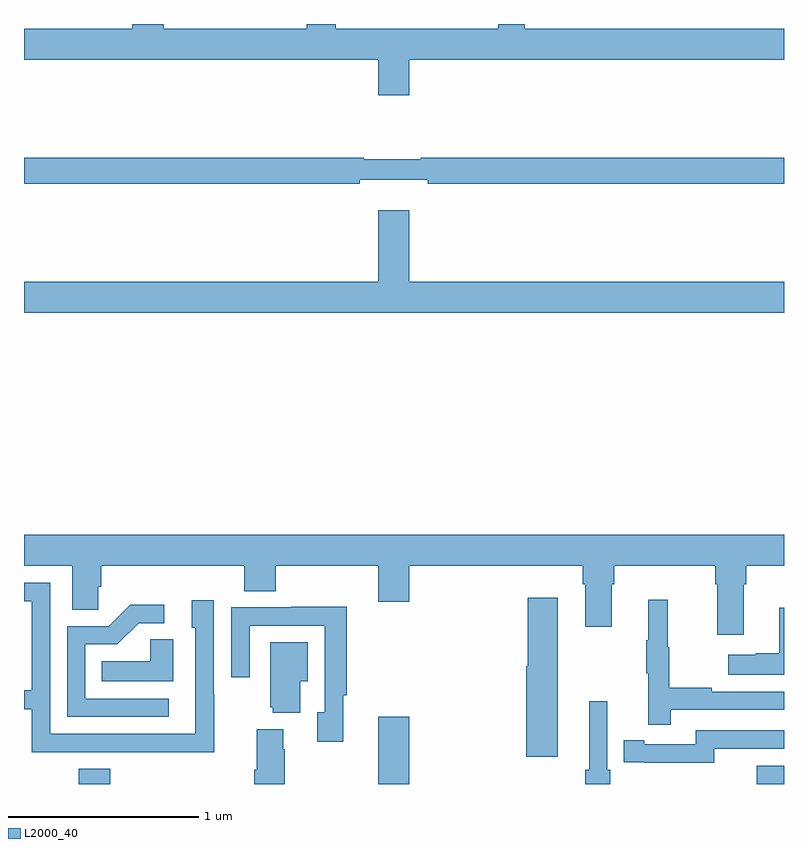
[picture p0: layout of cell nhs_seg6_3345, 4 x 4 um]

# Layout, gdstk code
import gdstk
lib = gdstk.Library(unit=1e-6, precision=1e-09)
def R(c, l, rs):  # rectangles x0, y0, x1, y1
    for r in rs: c.add(gdstk.rectangle(r[:2], r[2:], *l))
def P(c, l, *ps):  # polygons
    for p in ps: c.add(gdstk.Polygon(p, *l))
L2000_40 = (2000, 40)

nhs_seg6_3345 = lib.new_cell('nhs_seg6_3345')
R(nhs_seg6_3345, L2000_40, [(307.289,967.5,307.454,967.579), (308.864,967.5,309.028,967.855), (310.856,967.5,311,967.597)])
P(nhs_seg6_3345, L2000_40, [(309.028,971.312),(311,971.312),(311,971.476),(309.636,971.476),(309.636,971.5),(309.497,971.5),(309.497,971.476),(308.641,971.476),(308.641,971.5),(308.489,971.5),(308.489,971.476),(307.736,971.476),(307.736,971.5),(307.571,971.5),(307.571,971.476),(307,971.476),(307,971.312),(308.864,971.312),(308.864,971.124),(309.028,971.124)],
  [(308.768,970.679),(309.124,970.679),(309.124,970.66),(311,970.66),(311,970.796),(309.088,970.796),(309.088,970.789),(308.788,970.789),(308.788,970.796),(307,970.796),(307,970.66),(308.768,970.66)],
  [(311,970.144),(309.028,970.144),(309.028,970.519),(308.864,970.519),(308.864,970.144),(307,970.144),(307,969.98),(311,969.98)],
  [(310.789,968.552),(310.802,968.552),(310.802,968.648),(311,968.648),(311,968.812),(307,968.812),(307,968.648),(307.253,968.648),(307.253,968.416),(307.392,968.416),(307.392,968.539),(307.406,968.539),(307.406,968.648),(308.159,968.648),(308.159,968.515),(308.324,968.515),(308.324,968.648),(308.864,968.648),(308.864,968.46),(309.028,968.46),(309.028,968.648),(309.941,968.648),(309.941,968.552),(309.953,968.552),(309.953,968.328),(310.093,968.328),(310.093,968.552),(310.106,968.552),(310.106,968.648),(310.637,968.648),(310.637,968.552),(310.649,968.552),(310.649,968.286),(310.789,968.286)],
  [(308.001,967.973),(307.998,967.973),(307.998,968.467),(307.883,968.467),(307.883,968.322),(307.902,968.322),(307.902,967.764),(307.137,967.764),(307.137,968.559),(307,968.559),(307,968.463),(307.041,968.463),(307.041,967.994),(307,967.994),(307,967.893),(307.041,967.893),(307.041,967.668),(307.537,967.668),(307.537,967.667),(308.001,967.667)],
  [(309.808,968.479),(309.65,968.479),(309.65,968.121),(309.644,968.121),(309.644,967.644),(309.808,967.644)],
  [(310.403,967.89),(311,967.89),(311,967.986),(310.619,967.986),(310.619,968.006),(310.396,968.006),(310.396,968.22),(310.388,968.22),(310.388,968.47),(310.286,968.47),(310.286,968.257),(310.275,968.257),(310.275,968.083),(310.286,968.083),(310.286,967.812),(310.403,967.812)],
  [(307.762,967.95),(307.323,967.95),(307.323,968.235),(307.492,968.235),(307.603,968.346),(307.738,968.346),(307.738,968.444),(307.559,968.444),(307.446,968.331),(307.227,968.331),(307.227,967.854),(307.762,967.854)],
  [(308.681,967.966),(308.699,967.966),(308.699,968.432),(308.407,968.432),(308.407,968.43),(308.091,968.43),(308.091,968.061),(308.187,968.061),(308.187,968.334),(308.583,968.334),(308.583,967.878),(308.543,967.878),(308.543,967.722),(308.681,967.722)],
  [(311,968.428),(310.976,968.428),(310.976,968.189),(310.85,968.189),(310.85,968.179),(310.707,968.179),(310.707,968.075),(311,968.075)],
  [(307.786,968.261),(307.665,968.261),(307.665,968.146),(307.408,968.146),(307.408,968.042),(307.786,968.042)],
  [(308.455,968.042),(308.494,968.042),(308.494,968.245),(308.297,968.245),(308.297,967.905),(308.309,967.905),(308.309,967.874),(308.455,967.874)],
  [(310.085,967.576),(310.071,967.576),(310.071,967.936),(309.974,967.936),(309.974,967.576),(309.955,967.576),(309.955,967.5),(310.085,967.5)],
  [(308.373,967.682),(308.365,967.682),(308.365,967.789),(308.225,967.789),(308.225,967.576),(308.213,967.576),(308.213,967.5),(308.373,967.5)],
  [(310.632,967.686),(311,967.686),(311,967.782),(310.536,967.782),(310.536,967.71),(310.264,967.71),(310.264,967.73),(310.156,967.73),(310.156,967.614),(310.264,967.614),(310.264,967.613),(310.632,967.613)])

lib.write_gds('nhs_seg6_3345.gds')
